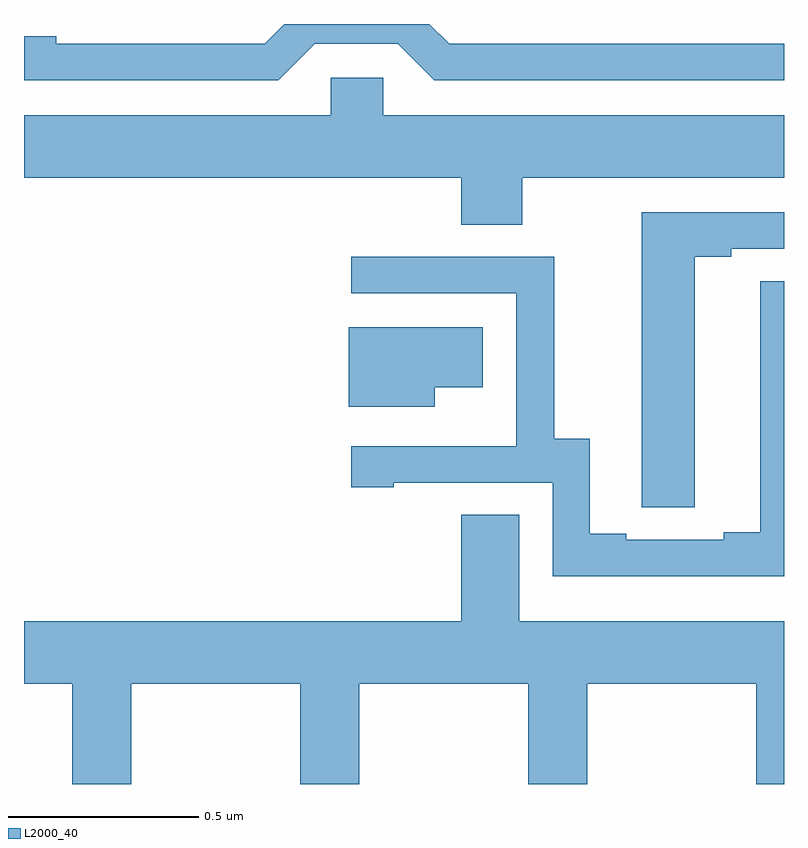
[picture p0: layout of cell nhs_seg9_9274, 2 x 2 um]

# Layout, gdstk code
import gdstk
lib = gdstk.Library(unit=1e-6, precision=1e-09)
def P(c, l, *ps):  # polygons
    for p in ps: c.add(gdstk.Polygon(p, *l))
L2000_40 = (2000, 40)

nhs_seg9_9274 = lib.new_cell('nhs_seg9_9274')
P(nhs_seg9_9274, L2000_40, [(228.765,1187.448),(228.983,1187.448),(229.079,1187.352),(230,1187.352),(230,1187.448),(229.119,1187.448),(229.067,1187.5),(228.685,1187.5),(228.633,1187.448),(228.085,1187.448),(228.085,1187.468),(228,1187.468),(228,1187.352),(228.669,1187.352)],
  [(229.311,1187.096),(230,1187.096),(230,1187.26),(228.945,1187.26),(228.945,1187.358),(228.807,1187.358),(228.807,1187.26),(228,1187.26),(228,1187.096),(229.151,1187.096),(229.151,1186.972),(229.311,1186.972)],
  [(229.765,1186.888),(229.861,1186.888),(229.861,1186.908),(230,1186.908),(230,1187.004),(229.625,1187.004),(229.625,1186.336),(229.626,1186.336),(229.626,1186.228),(229.765,1186.228)],
  [(230,1186.823),(229.937,1186.823),(229.937,1186.163),(229.841,1186.163),(229.841,1186.143),(229.585,1186.143),(229.585,1186.158),(229.489,1186.158),(229.489,1186.409),(229.395,1186.409),(229.395,1186.887),(228.861,1186.887),(228.861,1186.791),(229.296,1186.791),(229.296,1186.39),(229.295,1186.39),(229.295,1186.389),(228.861,1186.389),(228.861,1186.281),(228.973,1186.281),(228.973,1186.293),(229.392,1186.293),(229.392,1186.047),(230,1186.047)],
  [(229.081,1186.544),(229.207,1186.544),(229.207,1186.702),(228.854,1186.702),(228.854,1186.493),(229.081,1186.493)],
  [(228,1185.764),(228.127,1185.764),(228.127,1185.5),(228.282,1185.5),(228.282,1185.764),(228.727,1185.764),(228.727,1185.5),(228.882,1185.5),(228.882,1185.764),(229.327,1185.764),(229.327,1185.5),(229.482,1185.5),(229.482,1185.764),(229.927,1185.764),(229.927,1185.5),(230,1185.5),(230,1185.928),(229.303,1185.928),(229.303,1186.208),(229.151,1186.208),(229.151,1185.928),(228,1185.928)])

lib.write_gds('nhs_seg9_9274.gds')
